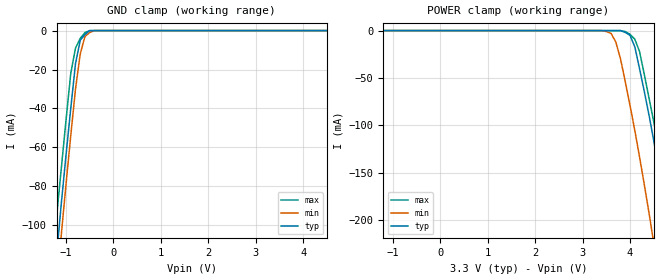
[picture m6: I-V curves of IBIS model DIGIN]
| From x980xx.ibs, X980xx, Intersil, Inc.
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|   DIGIN MODEL
[Model]   DIGIN
Model_type   Input
Vinl = 0.8Vc
Vinh = 2.5V
C_comp   3.374pF  3.248pF  3.503pF
|   typ   min   max
[Voltage Range]   3.3   3   3.6
[Temperature Range]  25   85   -40
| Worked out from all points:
|   GND clamp passes 1 mA (typ) near -0.55 V on its own axis
[GND_Clamp]
|V   I(typ)   I(min)   I(max)
-3.3V     -1.004A    -1.038A    -715mA
-1.3V     -144mA     -162mA     -121mA
-1.2V     -116mA     -133mA     -96mA
-1.1V     -89mA      -105mA     -71mA
-1V       -64mA      -79mA      -46mA
-900mV    -40mA      -54mA      -22mA
-800mV    -17mA      -30mA      -9mA
-700mV    -5mA       -12mA      -4mA
-600mV    -2mA       -3mA       -1mA
-500mV    0A         -1mA       0A
-400mV    0A         0A         0A
6.6V      0A         0A         0A
[Power_Clamp]
|V   I(typ)   I(min)   I(max)
-3.3V     0A         0A         0A
3.4V      0A         0A         0A
3.7V      0A         -12mA      0A
3.9V      -2mA       -54mA      -1mA
4.1V      -17mA      -105mA     -9mA
4.2V      -40mA      -133mA     -22mA
4.4V      -89mA      -192mA     -71mA
4.5V      -116mA     -224mA     -96mA
4.8V      -205mA     -328mA     -173mA
4.9V      -238mA     -366mA     -200mA
5V        -272mA     -405mA     -227mA
6.6V      -1.004A    -1.218A    -715mA
